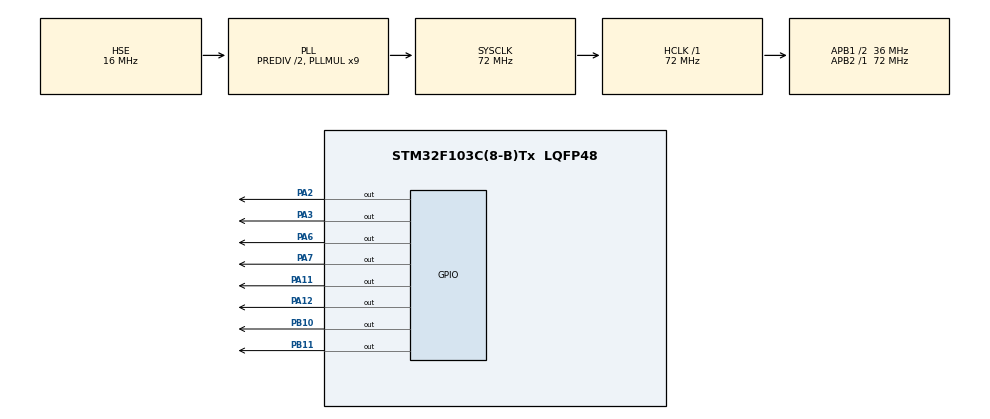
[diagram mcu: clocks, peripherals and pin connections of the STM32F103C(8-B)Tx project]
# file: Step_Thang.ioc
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Mcu.Family=STM32F1
Mcu.Name=STM32F103C(8-B)Tx
Mcu.Package=LQFP48
NVIC.PriorityGroup=NVIC_PRIORITYGROUP_4
NVIC.TIM2_IRQn=true\:0\:0\:true\:false\:true\:true\:true\:true
PA11.GPIO_Speed=GPIO_SPEED_FREQ_HIGH
PA11.PinState=GPIO_PIN_SET
PA11.Signal=GPIO_Output
PA12.GPIO_Speed=GPIO_SPEED_FREQ_HIGH
PA12.PinState=GPIO_PIN_SET
PA12.Signal=GPIO_Output
PA13.Mode=Serial_Wire
PA13.Signal=SYS_JTMS-SWDIO
PA14.Mode=Serial_Wire
PA14.Signal=SYS_JTCK-SWCLK
PA2.GPIO_Speed=GPIO_SPEED_FREQ_HIGH
PA2.PinState=GPIO_PIN_SET
PA2.Signal=GPIO_Output
PA3.GPIO_Speed=GPIO_SPEED_FREQ_HIGH
PA3.PinState=GPIO_PIN_SET
PA3.Signal=GPIO_Output
PA6.GPIO_Speed=GPIO_SPEED_FREQ_HIGH
PA6.PinState=GPIO_PIN_SET
PA6.Signal=GPIO_Output
PA7.GPIO_Speed=GPIO_SPEED_FREQ_HIGH
PA7.PinState=GPIO_PIN_SET
PA7.Signal=GPIO_Output
PB10.GPIO_Speed=GPIO_SPEED_FREQ_HIGH
PB10.PinState=GPIO_PIN_SET
PB10.Signal=GPIO_Output
PB11.GPIO_Speed=GPIO_SPEED_FREQ_HIGH
PB11.PinState=GPIO_PIN_SET
PB11.Signal=GPIO_Output
PD0-OSC_IN.Mode=HSE-External-Oscillator
PD0-OSC_IN.Signal=RCC_OSC_IN
PD1-OSC_OUT.Mode=HSE-External-Oscillator
PD1-OSC_OUT.Signal=RCC_OSC_OUT
ProjectManager.HeapSize=0x200
ProjectManager.StackSize=0x400
ProjectManager.TargetToolchain=MDK-ARM V5.32
RCC.AHBFreq_Value=72000000
RCC.APB1CLKDivider=RCC_HCLK_DIV2
RCC.APB1Freq_Value=36000000
RCC.APB1TimFreq_Value=72000000
RCC.APB2Freq_Value=72000000
RCC.APB2TimFreq_Value=72000000
RCC.HCLKFreq_Value=72000000
RCC.HSEDivPLL=RCC_HSE_PREDIV_DIV2
RCC.HSE_VALUE=16000000
RCC.PLLMUL=RCC_PLL_MUL9
RCC.PLLSourceVirtual=RCC_PLLSOURCE_HSE
RCC.SYSCLKFreq_VALUE=72000000
RCC.SYSCLKSource=RCC_SYSCLKSOURCE_PLLCLK
RCC.USBFreq_Value=72000000
TIM2.AutoReloadPreload=TIM_AUTORELOAD_PRELOAD_ENABLE
TIM2.Period=65500
TIM2.Prescaler=72-1
VP_TIM2_VS_ClockSourceINT.Mode=Internal
board=custom

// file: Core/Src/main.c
/* USER CODE BEGIN Header */
/**
  ******************************************************************************
  * @file           : main.c
  * @brief          : Main program body
  ******************************************************************************
  * @attention
  *
  * Copyright (c) 2023 STMicroelectronics.
  * All rights reserved.
  *
  * This software is licensed under terms that can be found in the LICENSE file
  * in the root directory of this software component.
  * If no LICENSE file comes with this software, it is provided AS-IS.
  *
  ******************************************************************************
  */
/* USER CODE END Header */
#include "main.h"

/* USER CODE BEGIN Includes */
#include "stdint.h"
#include "stdbool.h"
#include "math.h"
#include "stdio.h"
#include "stdlib.h"
/* USER CODE END Includes */

TIM_HandleTypeDef htim2;

void SystemClock_Config(void);
static void MX_GPIO_Init(void);
static void MX_TIM2_Init(void);
/* USER CODE BEGIN PFP */
int a;
void runAndWait();
void adjustSpeedScales();
void setNextInterruptInterval();
#define NUM_STEPPERS 4
// PA2 - STEP, PA3 - DIR
#define X_DIR_PIN GPIO_PIN_3
#define X_STEP_PIN GPIO_PIN_2
#define X_DIR_PORT GPIOA
#define X_STEP_PORT GPIOA

// PA7 - STEP, PA6 - DIR
#define Y_DIR_PIN GPIO_PIN_6
#define Y_STEP_PIN GPIO_PIN_7
#define Y_DIR_PORT GPIOA
#define Y_STEP_PORT GPIOA

#define BalanceX_DIR_PIN GPIO_PIN_10
#define BalanceX_STEP_PIN GPIO_PIN_11
#define BalanceX_DIR_PORT GPIOB
#define BalanceX_STEP_PORT GPIOB

#define BalanceY_DIR_PIN GPIO_PIN_12
#define BalanceY_STEP_PIN GPIO_PIN_11
#define BalanceY_DIR_PORT GPIOA
#define BalanceY_STEP_PORT GPIOA

#define TIMER1_INTERRUPTS_ON HAL_TIM_Base_Start_IT(&htim2);
#define TIMER1_INTERRUPTS_OFF HAL_TIM_Base_Stop_IT(&htim2);

unsigned long OCR1A;

struct stepperInfo {
  // externally defined parameters
  float acceleration;
  unsigned long minStepInterval;  // ie. max speed, smaller is faster
  void (*dirFunc)(int);
  void (*stepFunc)();

  // derived parameters
  unsigned int c0;    // step interval for first step, determines acceleration
  long stepPosition;  // current position of stepper (total of all movements taken so far)

  // per movement variables (only changed once per movement)
  int dir;                        // current direction of movement, used to keep track of position
  unsigned int totalSteps;        // number of steps requested for current movement
  int movementDone;               // 1 if the current movement has been completed (used by main program to wait for completion)
  unsigned int rampUpStepCount;   // number of steps taken to reach either max speed, or half-way to the goal (will be zero until this number is known)
  unsigned long estStepsToSpeed;  // estimated steps required to reach max speed
  unsigned long estTimeForMove;   // estimated time (interrupt ticks) required to complete movement
  unsigned long rampUpStepTime;
  float speedScale;  // used to slow down this motor to make coordinated movement with other motors

  // per iteration variables (potentially changed every interrupt)
  unsigned int n;          // index in acceleration curve, used to calculate next interval
  float d;                 // current interval length
  unsigned long di;        // above variable truncated
  unsigned int stepCount;  // number of steps completed in current movement
};

void xStep() {
    HAL_GPIO_WritePin(X_STEP_PORT, X_STEP_PIN, GPIO_PIN_SET);
    HAL_GPIO_WritePin(X_STEP_PORT, X_STEP_PIN, GPIO_PIN_RESET);
}
void xDir(int dir) {
  HAL_GPIO_WritePin(X_DIR_PORT, X_DIR_PIN, dir);
}

void yStep() {
    HAL_GPIO_WritePin(Y_STEP_PORT, Y_STEP_PIN, GPIO_PIN_SET);
    HAL_GPIO_WritePin(Y_STEP_PORT, Y_STEP_PIN, GPIO_PIN_RESET);
}
void yDir(int dir) {
  HAL_GPIO_WritePin(Y_DIR_PORT, Y_DIR_PIN, dir);
}

void Balance_XStep() {
    HAL_GPIO_WritePin(BalanceX_STEP_PORT, BalanceX_STEP_PIN, GPIO_PIN_SET);
    HAL_GPIO_WritePin(BalanceX_STEP_PORT, BalanceX_STEP_PIN, GPIO_PIN_RESET);
}
void Balance_XDir(int dir) {
  HAL_GPIO_WritePin(BalanceX_DIR_PORT, BalanceX_DIR_PIN, dir);
}

void Balance_YStep() {
    HAL_GPIO_WritePin(BalanceY_STEP_PORT, BalanceY_STEP_PIN, GPIO_PIN_SET);
    HAL_GPIO_WritePin(BalanceY_STEP_PORT, BalanceY_STEP_PIN, GPIO_PIN_RESET);
}
void Balance_YDir(int dir) {
  HAL_GPIO_WritePin(BalanceY_DIR_PORT, BalanceY_DIR_PIN, dir);
}

void resetStepperInfo(struct stepperInfo *si) {
  si->n = 0;
  si->d = 0;
  si->di = 0;
  si->stepCount = 0;
  si->rampUpStepCount = 0;
  si->rampUpStepTime = 0;
  si->totalSteps = 0;
  si->stepPosition = 0;
  si->movementDone = 0;
}

struct stepperInfo steppers[NUM_STEPPERS];
void resetStepper(struct stepperInfo *si) {
  si->c0 = si->acceleration;
  si->d = si->c0;
  si->di = si->d;
  si->stepCount = 0;
  si->n = 0;
  si->rampUpStepCount = 0;
  si->movementDone = 0;
  si->speedScale = 1;

  float a = si->minStepInterval / (float)si->c0;
  a *= 0.676;

  float m = ((a * a - 1) / (-2 * a));
  float n = m * m;

  si->estStepsToSpeed = n;
}

unsigned char remainingSteppersFlag = 0;

float getDurationOfAcceleration(struct stepperInfo *s, unsigned int numSteps) {

//		return s->c0 * sqrt(1.138 * numSteps + numSteps);
  float d = s->c0;
  float totalDuration = 0;
  for (unsigned int n = 1; n < numSteps; n++) {
    d = d - (2 * d) / (4 * n + 1);
    totalDuration += d;
  }
  return totalDuration;
}

void prepareMovement(int whichMotor, long steps) {
  struct stepperInfo *si = &steppers[whichMotor];
  si->dirFunc(steps < 0 ? 1 : 0);
  si->dir = steps > 0 ? 1 : -1;
  si->totalSteps = labs(steps);
  resetStepper(si);

  remainingSteppersFlag |= (1 << whichMotor);

  unsigned long stepsAbs = labs(steps);

  if ((2 * si->estStepsToSpeed) < stepsAbs) {
    // there will be a period of time at full speed
    unsigned long stepsAtFullSpeed = stepsAbs - 2 * si->estStepsToSpeed;
    float accelDecelTime = getDurationOfAcceleration(si, si->estStepsToSpeed);
    si->estTimeForMove = 2 * accelDecelTime + stepsAtFullSpeed * si->minStepInterval;
  } else {
    // will not reach full speed before needing to slow down again
    float accelDecelTime = getDurationOfAcceleration(si, stepsAbs / 2);
    si->estTimeForMove = 2 * accelDecelTime;
  }
}

unsigned char nextStepperFlag = 0;

void runAndWait() {
  adjustSpeedScales();
  setNextInterruptInterval();
  TIMER1_INTERRUPTS_ON
  while (remainingSteppersFlag);
  remainingSteppersFlag = 0;
  nextStepperFlag = 0;
}

void adjustSpeedScales() {
  float maxTime = 0;

  for (int i = 0; i < NUM_STEPPERS; i++) {
    if (!((1 << i) & remainingSteppersFlag))
      continue;
    if (steppers[i].estTimeForMove > maxTime)
      maxTime = steppers[i].estTimeForMove;
  }

  if (maxTime != 0) {
    for (int i = 0; i < NUM_STEPPERS; i++) {
      if (!((1 << i) & remainingSteppersFlag))
        continue;
      steppers[i].speedScale = maxTime / steppers[i].estTimeForMove;
    }
  }
}
/* USER CODE END PFP */

/* USER CODE BEGIN 0 */
int last_pos1;
int current_pos1;
int deltaA;
void RunIK(int x) {
    current_pos1 = x - last_pos1;

    deltaA = (current_pos1 *200);
		prepareMovement(1, deltaA);

    runAndWait();

    last_pos1 = x;

}
/* USER CODE END 0 */

int main(void)
{

  /* MCU Configuration--------------------------------------------------------*/

  /* Reset of all peripherals, Initializes the Flash interface and the Systick. */
  HAL_Init();

  /* Configure the system clock */
  SystemClock_Config();

  /* Initialize all configured peripherals */
  MX_GPIO_Init();
  MX_TIM2_Init();
  /* USER CODE BEGIN 2 */
//  steppers[0].dirFunc = Balance_YDir;
//  steppers[0].stepFunc = Balance_YStep;
//  steppers[0].acceleration = 3000;
//  steppers[0].minStepInterval = 1;
//
  steppers[1].dirFunc = xDir;
  steppers[1].stepFunc = xStep;
  steppers[1].acceleration = 3000;
  steppers[1].minStepInterval = 1;
//
//  steppers[2].dirFunc = yDir;
//  steppers[2].stepFunc = yStep;
//  steppers[2].acceleration = 3000;
//  steppers[2].minStepInterval = 1;
////
//  steppers[3].dirFunc = Balance_XDir;
//  steppers[3].stepFunc = Balance_XStep;
//  steppers[3].acceleration = 3000;
//  steppers[3].minStepInterval = 1;
  /* USER CODE END 2 */

  /* Infinite loop */
  while (1)
  {

    /* USER CODE BEGIN 3 */

		RunIK(a);

  }
  /* USER CODE END 3 */
}

void SystemClock_Config(void)
{
  RCC_OscInitTypeDef RCC_OscInitStruct = {0};
  RCC_ClkInitTypeDef RCC_ClkInitStruct = {0};

  /** Initializes the RCC Oscillators according to the specified parameters
  * in the RCC_OscInitTypeDef structure.
  */
  RCC_OscInitStruct.OscillatorType = RCC_OSCILLATORTYPE_HSE;
  RCC_OscInitStruct.HSEState = RCC_HSE_ON;
  RCC_OscInitStruct.HSEPredivValue = RCC_HSE_PREDIV_DIV2;
  RCC_OscInitStruct.HSIState = RCC_HSI_ON;
  RCC_OscInitStruct.PLL.PLLState = RCC_PLL_ON;
  RCC_OscInitStruct.PLL.PLLSource = RCC_PLLSOURCE_HSE;
  RCC_OscInitStruct.PLL.PLLMUL = RCC_PLL_MUL9;
  if (HAL_RCC_OscConfig(&RCC_OscInitStruct) != HAL_OK)
  {
    Error_Handler();
  }

  /** Initializes the CPU, AHB and APB buses clocks
  */
  RCC_ClkInitStruct.ClockType = RCC_CLOCKTYPE_HCLK|RCC_CLOCKTYPE_SYSCLK
                              |RCC_CLOCKTYPE_PCLK1|RCC_CLOCKTYPE_PCLK2;
  RCC_ClkInitStruct.SYSCLKSource = RCC_SYSCLKSOURCE_PLLCLK;
  RCC_ClkInitStruct.AHBCLKDivider = RCC_SYSCLK_DIV1;
  RCC_ClkInitStruct.APB1CLKDivider = RCC_HCLK_DIV2;
  RCC_ClkInitStruct.APB2CLKDivider = RCC_HCLK_DIV1;

  if (HAL_RCC_ClockConfig(&RCC_ClkInitStruct, FLASH_LATENCY_2) != HAL_OK)
  {
    Error_Handler();
  }
}

static void MX_TIM2_Init(void)
{

  TIM_ClockConfigTypeDef sClockSourceConfig = {0};
  TIM_MasterConfigTypeDef sMasterConfig = {0};

  htim2.Instance = TIM2;
  htim2.Init.Prescaler = 72-1;
  htim2.Init.CounterMode = TIM_COUNTERMODE_UP;
  htim2.Init.Period = 65500;
  htim2.Init.ClockDivision = TIM_CLOCKDIVISION_DIV1;
  htim2.Init.AutoReloadPreload = TIM_AUTORELOAD_PRELOAD_ENABLE;
  if (HAL_TIM_Base_Init(&htim2) != HAL_OK)
  {
    Error_Handler();
  }
  sClockSourceConfig.ClockSource = TIM_CLOCKSOURCE_INTERNAL;
  if (HAL_TIM_ConfigClockSource(&htim2, &sClockSourceConfig) != HAL_OK)
  {
    Error_Handler();
  }
  sMasterConfig.MasterOutputTrigger = TIM_TRGO_RESET;
  sMasterConfig.MasterSlaveMode = TIM_MASTERSLAVEMODE_DISABLE;
  if (HAL_TIMEx_MasterConfigSynchronization(&htim2, &sMasterConfig) != HAL_OK)
  {
    Error_Handler();
  }

}

static void MX_GPIO_Init(void)
{
  GPIO_InitTypeDef GPIO_InitStruct = {0};

  /* GPIO Ports Clock Enable */
  __HAL_RCC_GPIOD_CLK_ENABLE();
  __HAL_RCC_GPIOA_CLK_ENABLE();
  __HAL_RCC_GPIOB_CLK_ENABLE();

  /*Configure GPIO pin Output Level */
  HAL_GPIO_WritePin(GPIOA, GPIO_PIN_2|GPIO_PIN_3|GPIO_PIN_6|GPIO_PIN_7
                          |GPIO_PIN_11|GPIO_PIN_12, GPIO_PIN_SET);

  /*Configure GPIO pin Output Level */
  HAL_GPIO_WritePin(GPIOB, GPIO_PIN_10|GPIO_PIN_11, GPIO_PIN_SET);

  /*Configure GPIO pins : PA2 PA3 PA6 PA7
                           PA11 PA12 */
  GPIO_InitStruct.Pin = GPIO_PIN_2|GPIO_PIN_3|GPIO_PIN_6|GPIO_PIN_7
                          |GPIO_PIN_11|GPIO_PIN_12;
  GPIO_InitStruct.Mode = GPIO_MODE_OUTPUT_PP;
  GPIO_InitStruct.Pull = GPIO_NOPULL;
  GPIO_InitStruct.Speed = GPIO_SPEED_FREQ_HIGH;
  HAL_GPIO_Init(GPIOA, &GPIO_InitStruct);

  /*Configure GPIO pins : PB10 PB11 */
  GPIO_InitStruct.Pin = GPIO_PIN_10|GPIO_PIN_11;
  GPIO_InitStruct.Mode = GPIO_MODE_OUTPUT_PP;
  GPIO_InitStruct.Pull = GPIO_NOPULL;
  GPIO_InitStruct.Speed = GPIO_SPEED_FREQ_HIGH;
  HAL_GPIO_Init(GPIOB, &GPIO_InitStruct);

}

/* USER CODE BEGIN 4 */
void HAL_TIM_PeriodElapsedCallback(TIM_HandleTypeDef *htim)
{
		if (htim->Instance== htim2.Instance){
    unsigned int tmpCtr = OCR1A;
    OCR1A = 1;
    __HAL_TIM_SET_AUTORELOAD(&htim2, OCR1A);

    for (int i = 0; i < NUM_STEPPERS; i++) {
      if (!((1 << i) & remainingSteppersFlag))
        continue;

      if (!(nextStepperFlag & (1 << i))) {
        steppers[i].di -= tmpCtr;
        continue;
      }

      volatile struct stepperInfo *s = &steppers[i];

      if (s->stepCount < s->totalSteps) {
        s->stepFunc();
        s->stepCount++;
        s->stepPosition += s->dir;
        if (s->stepCount >= s->totalSteps) {
          s->movementDone = 1;
          remainingSteppersFlag &= ~(1 << i);
        }
      }

      if (s->rampUpStepCount == 0) {
        s->n++;
        s->d = s->d - (2 * s->d) / (4 * s->n + 1);
        if (s->d <= s->minStepInterval) {
          s->d = s->minStepInterval;
          s->rampUpStepCount = s->stepCount;
        }
        if (s->stepCount >= s->totalSteps / 2) {
          s->rampUpStepCount = s->stepCount;
        }
        s->rampUpStepTime += s->d;
      } else if (s->stepCount >= s->totalSteps - s->rampUpStepCount) {
        s->d = (s->d * (4 * s->n + 1)) / (4 * s->n + 1 - 2);
        s->n--;
      }

      s->di = s->d * s->speedScale;  // integer
    }

    setNextInterruptInterval();

    __HAL_TIM_SET_COUNTER(&htim2, 0);
		}
}

int movementComplete;
void setNextInterruptInterval() {
  movementComplete = 1;
  unsigned long mind = 7999999;
  for (int i = 0; i < NUM_STEPPERS; i++) {
    if (((1 << i) & remainingSteppersFlag) && steppers[i].di < mind) {
      mind = steppers[i].di;
    }
  }

  nextStepperFlag = 0;
  for (int i = 0; i < NUM_STEPPERS; i++) {
    if (!steppers[i].movementDone)
      movementComplete = 0;
    if (((1 << i) & remainingSteppersFlag) && steppers[i].di == mind)
      nextStepperFlag |= (1 << i);
  }

  if (remainingSteppersFlag == 0) {
    TIMER1_INTERRUPTS_OFF
    OCR1A = 1;
    __HAL_TIM_SET_AUTORELOAD(&htim2, OCR1A);
  }
  OCR1A = (uint32_t)mind;
  __HAL_TIM_SET_AUTORELOAD(&htim2, OCR1A);
}
/* USER CODE END 4 */

void Error_Handler(void)
{
  __disable_irq();
  while (1)
  {
  }
}
